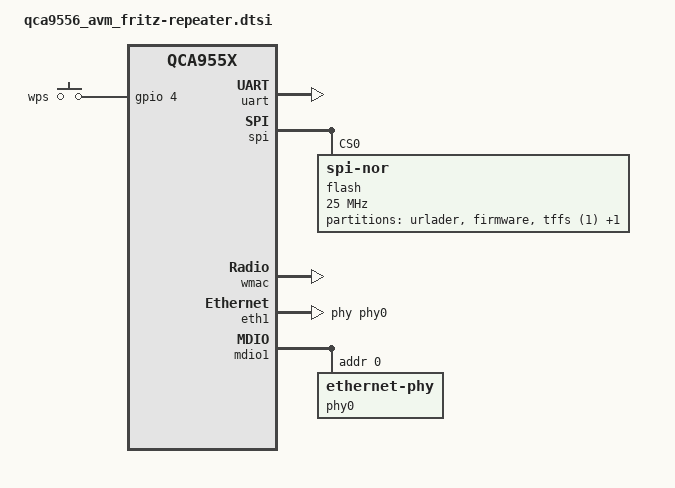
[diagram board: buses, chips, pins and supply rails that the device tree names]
// SPDX-License-Identifier: GPL-2.0-or-later OR MIT
/dts-v1/;

#include <dt-bindings/gpio/gpio.h>
#include <dt-bindings/input/input.h>

#include "qca955x.dtsi"

/ {
	keys {
		compatible = "gpio-keys";

		wps {
			label = "wps";
			linux,code = <KEY_WPS_BUTTON>;
			gpios = <&gpio 4 GPIO_ACTIVE_HIGH>;
		};
	};
};

&uart {
	status = "okay";
};

&spi {
	status = "okay";
	num-cs = <1>;

	flash@0 {
		compatible = "jedec,spi-nor";
		reg = <0>;
		spi-max-frequency = <25000000>;

		partitions {
			compatible = "fixed-partitions";
			#address-cells = <1>;
			#size-cells = <1>;

			partition@0 {
				label = "urlader";
				reg = <0x0 0x20000>;
				read-only;
			};

			partition@20000 {
				compatible = "avm,eva-firmware";
				label = "firmware";
				reg = <0x20000 0xee0000>;
			};

			partition@f00000 {
				label = "tffs (1)";
				reg = <0xf00000 0x80000>;
				read-only;
			};

			partition@f80000 {
				label = "tffs (2)";
				reg = <0xf80000 0x80000>;
				read-only;
			};
		};
	};
};

&wmac {
	status = "okay";
	qca,no-eeprom;
};

&eth1 {
	status = "okay";

	phy-handle = <&phy0>;
	pll-data = <0x3000000 0x101 0x1313>;

	qca955x-sgmii-fixup;

	gmac-config {
		device = <&gmac>;
		ge0-sgmii = <0>;
	};
};

&mdio1 {
	status = "okay";

	phy0: ethernet-phy@0 {
		reg = <0>;
		at803x-override-sgmii-link-check;
	};
};
